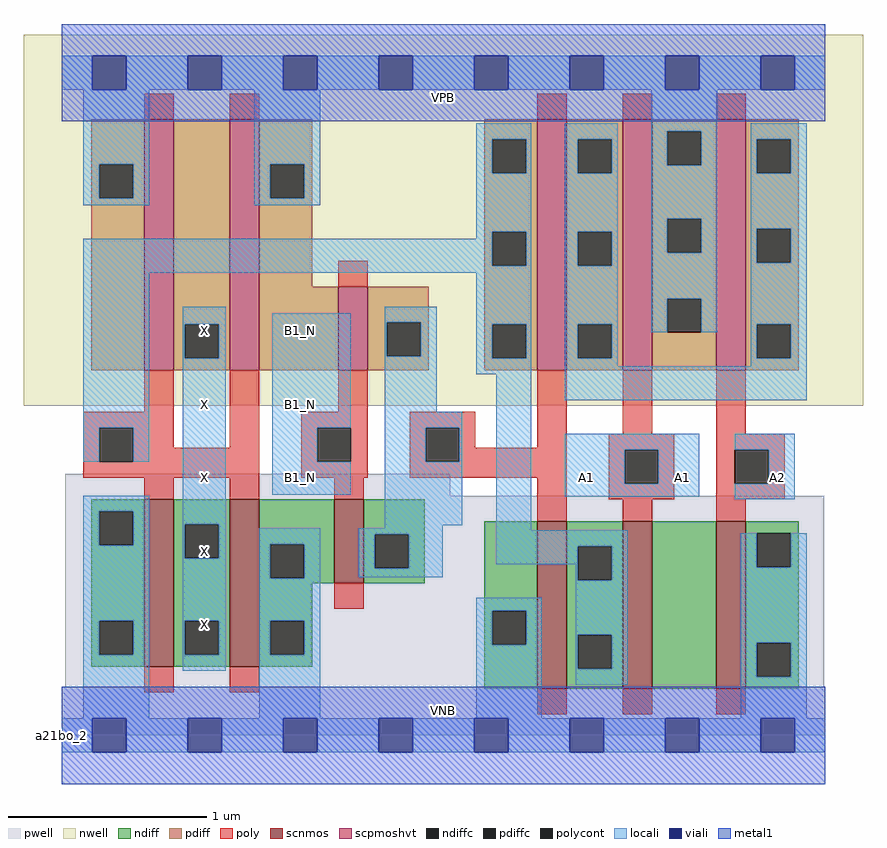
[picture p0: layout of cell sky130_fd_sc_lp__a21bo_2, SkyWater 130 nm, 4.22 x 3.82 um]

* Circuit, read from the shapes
.subckt sky130_fd_sc_lp__a21bo_2 A1 A2 B1_N VGND VNB VPB VPWR X
XM1 X n1 VGND VNB sky130_fd_pr__nfet_01v8 w=0.84 l=0.15 m=2
XM2 n2 B1_N VGND VNB sky130_fd_pr__nfet_01v8 w=0.42 l=0.15
XM3 n1 n2 VGND VNB sky130_fd_pr__nfet_01v8 w=0.84 l=0.15
XM4 n3 A1 n1 VNB sky130_fd_pr__nfet_01v8 w=0.84 l=0.15
XM5 VGND A2 n3 VNB sky130_fd_pr__nfet_01v8 w=0.84 l=0.15
XM6 X n1 VPWR VPB sky130_fd_pr__pfet_01v8_hvt w=1.26 l=0.15 m=2
XM7 n2 B1_N VPWR VPB sky130_fd_pr__pfet_01v8_hvt w=0.42 l=0.15
XM8 n4 n2 n1 VPB sky130_fd_pr__pfet_01v8_hvt w=1.26 l=0.15
XM9 VPWR A1 n4 VPB sky130_fd_pr__pfet_01v8_hvt w=1.26 l=0.15
XM10 n4 A2 VPWR VPB sky130_fd_pr__pfet_01v8_hvt w=1.26 l=0.15
.ends

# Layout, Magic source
magic
tech sky130A
magscale 1 2
<< nwell >>
rect -38 331 806 704
<< pwell >>
rect 4 241 391 263
rect 4 49 767 241
rect 0 0 768 49
<< scnmos >>
rect 83 69 113 237
rect 169 69 199 237
rect 274 153 304 237
rect 478 47 508 215
rect 564 47 594 215
rect 658 47 688 215
<< scpmoshvt >>
rect 83 367 113 619
rect 169 367 199 619
rect 278 367 308 451
rect 478 367 508 619
rect 564 367 594 619
rect 658 367 688 619
<< ndiff >>
rect 30 225 83 237
rect 30 191 38 225
rect 72 191 83 225
rect 30 115 83 191
rect 30 81 38 115
rect 72 81 83 115
rect 30 69 83 81
rect 113 212 169 237
rect 113 178 124 212
rect 158 178 169 212
rect 113 115 169 178
rect 113 81 124 115
rect 158 81 169 115
rect 113 69 169 81
rect 199 192 274 237
rect 199 158 210 192
rect 244 158 274 192
rect 199 153 274 158
rect 304 202 365 237
rect 304 168 315 202
rect 349 168 365 202
rect 304 153 365 168
rect 199 115 252 153
rect 199 81 210 115
rect 244 81 252 115
rect 199 69 252 81
rect 425 125 478 215
rect 425 91 433 125
rect 467 91 478 125
rect 425 47 478 91
rect 508 190 564 215
rect 508 156 519 190
rect 553 156 564 190
rect 508 101 564 156
rect 508 67 519 101
rect 553 67 564 101
rect 508 47 564 67
rect 594 47 658 215
rect 688 203 741 215
rect 688 169 699 203
rect 733 169 741 203
rect 688 93 741 169
rect 688 59 699 93
rect 733 59 741 93
rect 688 47 741 59
<< pdiff >>
rect 30 574 83 619
rect 30 540 38 574
rect 72 540 83 574
rect 30 367 83 540
rect 113 413 169 619
rect 113 379 124 413
rect 158 379 169 413
rect 113 367 169 379
rect 199 574 252 619
rect 199 540 210 574
rect 244 540 252 574
rect 199 451 252 540
rect 425 599 478 619
rect 425 565 433 599
rect 467 565 478 599
rect 425 506 478 565
rect 425 472 433 506
rect 467 472 478 506
rect 199 367 278 451
rect 308 415 369 451
rect 308 381 327 415
rect 361 381 369 415
rect 308 367 369 381
rect 425 413 478 472
rect 425 379 433 413
rect 467 379 478 413
rect 425 367 478 379
rect 508 599 564 619
rect 508 565 519 599
rect 553 565 564 599
rect 508 506 564 565
rect 508 472 519 506
rect 553 472 564 506
rect 508 413 564 472
rect 508 379 519 413
rect 553 379 564 413
rect 508 367 564 379
rect 594 607 658 619
rect 594 573 609 607
rect 643 573 658 607
rect 594 519 658 573
rect 594 485 609 519
rect 643 485 658 519
rect 594 439 658 485
rect 594 405 609 439
rect 643 405 658 439
rect 594 367 658 405
rect 688 599 741 619
rect 688 565 699 599
rect 733 565 741 599
rect 688 509 741 565
rect 688 475 699 509
rect 733 475 741 509
rect 688 413 741 475
rect 688 379 699 413
rect 733 379 741 413
rect 688 367 741 379
<< ndiffc >>
rect 38 191 72 225
rect 38 81 72 115
rect 124 178 158 212
rect 124 81 158 115
rect 210 158 244 192
rect 315 168 349 202
rect 210 81 244 115
rect 433 91 467 125
rect 519 156 553 190
rect 519 67 553 101
rect 699 169 733 203
rect 699 59 733 93
<< pdiffc >>
rect 38 540 72 574
rect 124 379 158 413
rect 210 540 244 574
rect 433 565 467 599
rect 433 472 467 506
rect 327 381 361 415
rect 433 379 467 413
rect 519 565 553 599
rect 519 472 553 506
rect 519 379 553 413
rect 609 573 643 607
rect 609 485 643 519
rect 609 405 643 439
rect 699 565 733 599
rect 699 475 733 509
rect 699 379 733 413
<< poly >>
rect 83 619 113 645
rect 169 619 199 645
rect 478 619 508 645
rect 564 619 594 645
rect 658 619 688 645
rect 278 451 308 477
rect 83 325 113 367
rect 22 309 113 325
rect 22 275 38 309
rect 72 289 113 309
rect 169 289 199 367
rect 278 325 308 367
rect 72 275 199 289
rect 22 259 199 275
rect 241 309 308 325
rect 241 275 257 309
rect 291 275 308 309
rect 241 259 308 275
rect 350 309 416 325
rect 350 275 366 309
rect 400 289 416 309
rect 478 289 508 367
rect 564 303 594 367
rect 658 303 688 367
rect 400 275 508 289
rect 350 259 508 275
rect 83 237 113 259
rect 169 237 199 259
rect 274 237 304 259
rect 478 215 508 259
rect 550 287 616 303
rect 550 253 566 287
rect 600 253 616 287
rect 550 237 616 253
rect 658 287 727 303
rect 658 253 677 287
rect 711 253 727 287
rect 658 237 727 253
rect 564 215 594 237
rect 658 215 688 237
rect 274 127 304 153
rect 83 43 113 69
rect 169 43 199 69
rect 478 21 508 47
rect 564 21 594 47
rect 658 21 688 47
<< polycont >>
rect 38 275 72 309
rect 257 275 291 309
rect 366 275 400 309
rect 566 253 600 287
rect 677 253 711 287
<< locali >>
rect 0 649 31 683
rect 65 649 127 683
rect 161 649 223 683
rect 257 649 319 683
rect 353 649 415 683
rect 449 649 511 683
rect 545 649 607 683
rect 641 649 703 683
rect 737 649 768 683
rect 22 574 88 649
rect 22 540 38 574
rect 72 540 88 574
rect 22 533 88 540
rect 194 574 260 649
rect 194 540 210 574
rect 244 540 260 574
rect 194 533 260 540
rect 417 599 472 615
rect 417 565 433 599
rect 467 565 472 599
rect 417 506 472 565
rect 417 499 433 506
rect 22 472 433 499
rect 467 472 472 506
rect 22 465 472 472
rect 22 309 88 465
rect 22 275 38 309
rect 72 275 88 309
rect 122 413 165 431
rect 122 379 124 413
rect 158 379 165 413
rect 22 225 88 241
rect 22 191 38 225
rect 72 191 88 225
rect 22 115 88 191
rect 22 81 38 115
rect 72 81 88 115
rect 22 17 88 81
rect 122 212 165 379
rect 212 309 291 424
rect 212 275 257 309
rect 212 242 291 275
rect 325 415 377 431
rect 325 381 327 415
rect 361 381 377 415
rect 325 325 377 381
rect 417 413 472 465
rect 417 379 433 413
rect 467 379 472 413
rect 417 363 472 379
rect 325 309 403 325
rect 325 275 366 309
rect 400 275 403 309
rect 122 178 124 212
rect 158 178 165 212
rect 325 211 403 275
rect 325 208 383 211
rect 122 115 165 178
rect 122 81 124 115
rect 158 81 165 115
rect 122 65 165 81
rect 199 192 260 208
rect 199 158 210 192
rect 244 158 260 192
rect 299 202 383 208
rect 299 168 315 202
rect 349 168 383 202
rect 437 206 472 363
rect 506 599 559 615
rect 506 565 519 599
rect 553 565 559 599
rect 506 506 559 565
rect 506 472 519 506
rect 553 472 559 506
rect 506 413 559 472
rect 506 379 519 413
rect 553 379 559 413
rect 593 607 659 649
rect 593 573 609 607
rect 643 573 659 607
rect 593 519 659 573
rect 593 485 609 519
rect 643 485 659 519
rect 593 439 659 485
rect 593 405 609 439
rect 643 405 659 439
rect 693 599 749 615
rect 693 565 699 599
rect 733 565 749 599
rect 693 509 749 565
rect 693 475 699 509
rect 733 475 749 509
rect 693 413 749 475
rect 506 371 559 379
rect 693 379 699 413
rect 733 379 749 413
rect 693 371 749 379
rect 506 337 749 371
rect 506 287 641 303
rect 506 253 566 287
rect 600 253 641 287
rect 506 240 641 253
rect 677 287 737 303
rect 711 253 737 287
rect 677 237 737 253
rect 437 190 569 206
rect 437 172 519 190
rect 299 159 383 168
rect 199 115 260 158
rect 517 156 519 172
rect 553 156 569 190
rect 199 81 210 115
rect 244 81 260 115
rect 199 17 260 81
rect 417 125 483 138
rect 417 91 433 125
rect 467 91 483 125
rect 417 17 483 91
rect 517 101 569 156
rect 517 67 519 101
rect 553 67 569 101
rect 517 51 569 67
rect 683 169 699 203
rect 733 169 749 203
rect 683 93 749 169
rect 683 59 699 93
rect 733 59 749 93
rect 683 17 749 59
rect 0 -17 31 17
rect 65 -17 127 17
rect 161 -17 223 17
rect 257 -17 319 17
rect 353 -17 415 17
rect 449 -17 511 17
rect 545 -17 607 17
rect 641 -17 703 17
rect 737 -17 768 17
<< viali >>
rect 31 649 65 683
rect 127 649 161 683
rect 223 649 257 683
rect 319 649 353 683
rect 415 649 449 683
rect 511 649 545 683
rect 607 649 641 683
rect 703 649 737 683
rect 31 -17 65 17
rect 127 -17 161 17
rect 223 -17 257 17
rect 319 -17 353 17
rect 415 -17 449 17
rect 511 -17 545 17
rect 607 -17 641 17
rect 703 -17 737 17
<< metal1 >>
rect 0 683 768 715
rect 0 649 31 683
rect 65 649 127 683
rect 161 649 223 683
rect 257 649 319 683
rect 353 649 415 683
rect 449 649 511 683
rect 545 649 607 683
rect 641 649 703 683
rect 737 649 768 683
rect 0 617 768 649
rect 0 17 768 49
rect 0 -17 31 17
rect 65 -17 127 17
rect 161 -17 223 17
rect 257 -17 319 17
rect 353 -17 415 17
rect 449 -17 511 17
rect 545 -17 607 17
rect 641 -17 703 17
rect 737 -17 768 17
rect 0 -49 768 -17
<< labels >>
flabel pwell s 0 0 768 49 0 FreeSans 200 0 0 0 VNB
port 5 nsew ground bidirectional
flabel nwell s 0 617 768 666 0 FreeSans 200 0 0 0 VPB
port 6 nsew power bidirectional
rlabel comment s 0 0 0 0 4 a21bo_2
flabel metal1 s 0 617 768 666 0 FreeSans 340 0 0 0 VPWR
port 7 nsew power bidirectional
flabel metal1 s 0 0 768 49 0 FreeSans 340 0 0 0 VGND
port 4 nsew ground bidirectional
flabel locali s 511 242 545 276 0 FreeSans 340 0 0 0 A1
port 1 nsew signal input
flabel locali s 607 242 641 276 0 FreeSans 340 0 0 0 A1
port 1 nsew signal input
flabel locali s 703 242 737 276 0 FreeSans 340 0 0 0 A2
port 2 nsew signal input
flabel locali s 223 242 257 276 0 FreeSans 340 0 0 0 B1_N
port 3 nsew signal input
flabel locali s 223 316 257 350 0 FreeSans 340 0 0 0 B1_N
port 3 nsew signal input
flabel locali s 223 390 257 424 0 FreeSans 340 0 0 0 B1_N
port 3 nsew signal input
flabel locali s 127 94 161 128 0 FreeSans 340 0 0 0 X
port 8 nsew signal output
flabel locali s 127 168 161 202 0 FreeSans 340 0 0 0 X
port 8 nsew signal output
flabel locali s 127 242 161 276 0 FreeSans 340 0 0 0 X
port 8 nsew signal output
flabel locali s 127 316 161 350 0 FreeSans 340 0 0 0 X
port 8 nsew signal output
flabel locali s 127 390 161 424 0 FreeSans 340 0 0 0 X
port 8 nsew signal output
<< properties >>
string LEFsite unit
string LEFclass CORE
string FIXED_BBOX 0 0 768 666
string GDS_FILE $PDKPATH/libs.ref/sky130_fd_sc_lp/gds/sky130_fd_sc_lp.gds
string LEFsymmetry X Y R90
string GDS_END 3744544
string GDS_START 3736946
<< end >>
